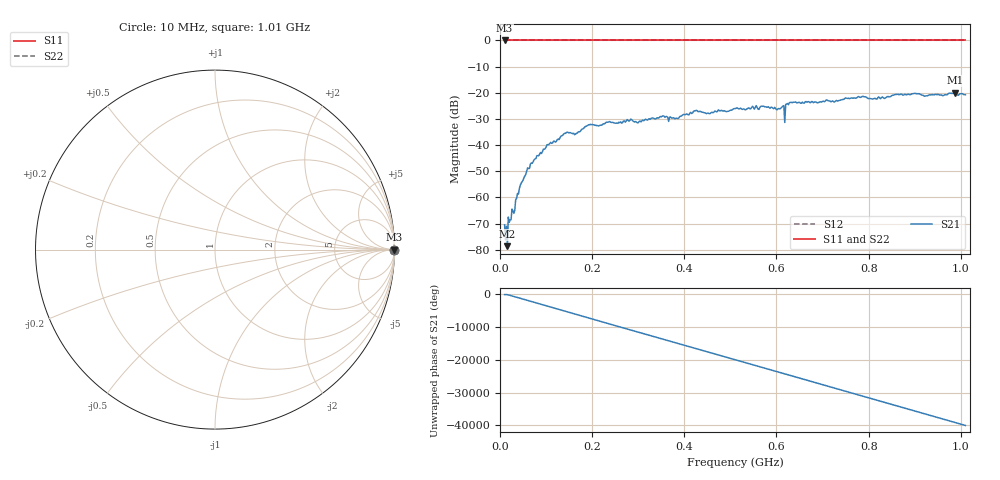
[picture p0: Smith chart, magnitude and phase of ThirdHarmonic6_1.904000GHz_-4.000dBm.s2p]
! 8/16/2025 10:58:27 PM
! C:\ANRITSUVNA\TEMP\TEMP.S2P
! CHANNEL.1
! TR.MEASUREMENT
! RAW.DATA
! RF.CORRECTION.OFF
! AVERAGING.OFF
! IF.BANDWIDTH: 5KHZ
! SWEEPTYPE:  FREQ.SWEEP(Linear)
! Reference Plane Port Info
! PORT:  PORT1  PORT2
! DISTANCE:  0  m  0  m
! TIME:  0  s  0  s
! PHASE.OFFSET:  0  deg.  0  deg.
! LOSS:  0  dB  0  dB
! REF.LOSS:  0  dB  0  dB
! REF.FREQ:  0  Hz  0  Hz
! Power Info
! POWER:  -20  dBm  -20  dBm
! EFF.POWER:  -20  dBm  -20  dBm
! SOURCE.ATTEN:  0  dB  0  dB
! TEST.ATTEN:  0  dB  0  dB
# GHZ S RI R 50.0
! FREQ.GHZ  S11RE  S11IM  S21RE  S21IM  S12RE  S12IM  S22RE  S22IM
!; PortSelection: Port_12
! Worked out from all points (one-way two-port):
!   501 points, 10 MHz to 1.01 GHz, reference 50 ohm
!   highest |S21| = -19.89 dB at 988 MHz (marker M1); lowest = -78.6 dB at 16 MHz (marker M2)
!   lowest |S11| = 0.0 dB at 10 MHz (marker M3)
!   |S11| at or under -10 dB: nowhere
!   |S22| runs from 0.0 to 0.0 dB; largest |S21 - S12| = 1.1
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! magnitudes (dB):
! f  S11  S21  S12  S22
! 10 MHz  0.0  -70.4  0.0  0.0
! 12 MHz  0.0  -76.2  0.0  0.0
! 16 MHz  0.0  -78.6  0.0  0.0
! 20 MHz  0.0  -69.5  0.0  0.0
! 22 MHz  0.0  -68.6  0.0  0.0
! 28 MHz  0.0  -65.1  0.0  0.0
! 46 MHz  0.0  -54.5  0.0  0.0
! 70 MHz  0.0  -46.9  0.0  0.0
! 106 MHz  0.0  -39.8  0.0  0.0
! 142 MHz  0.0  -35.5  0.0  0.0
! 178 MHz  0.0  -33.9  0.0  0.0
! 196 MHz  0.0  -32.1  0.0  0.0
! 344 MHz  0.0  -29.6  0.0  0.0
! 384 MHz  0.0  -29.7  0.0  0.0
! 424 MHz  0.0  -26.9  0.0  0.0
! 510 MHz  0.0  -26.0  0.0  0.0
! 614 MHz  0.0  -25.1  0.0  0.0
! 632 MHz  0.0  -23.7  0.0  0.0
! 678 MHz  0.0  -23.4  0.0  0.0
! 844 MHz  0.0  -21.5  0.0  0.0
! 988 MHz  0.0  -19.9  0.0  0.0
! 1.01 GHz  0.0  -20.7  0.0  0.0
